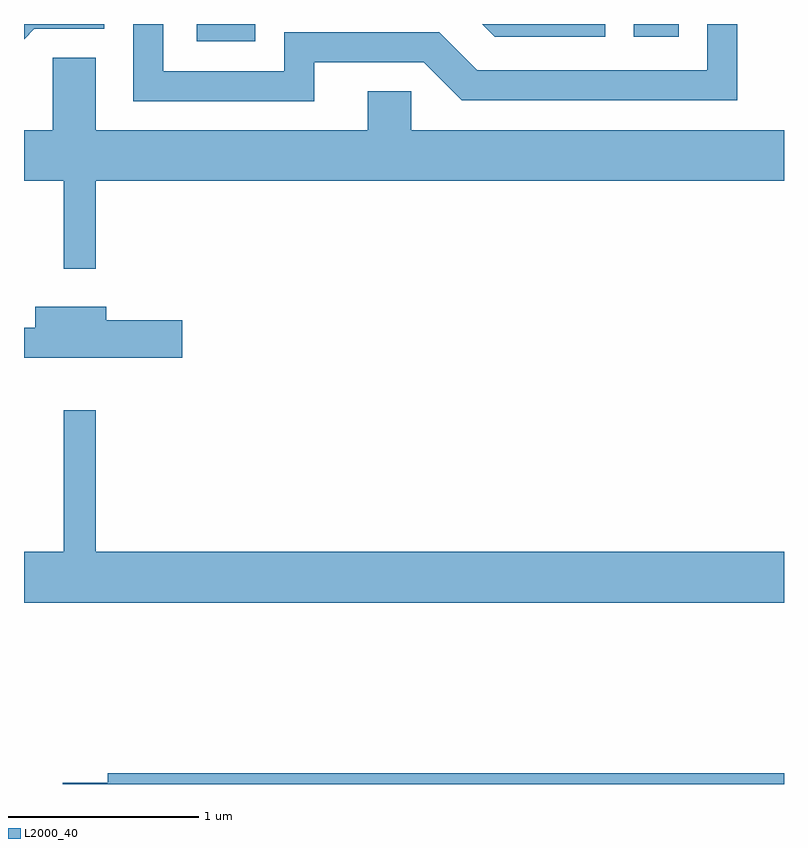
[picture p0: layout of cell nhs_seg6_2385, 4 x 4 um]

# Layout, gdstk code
import gdstk
lib = gdstk.Library(unit=1e-6, precision=1e-09)
def R(c, l, rs):  # rectangles x0, y0, x1, y1
    for r in rs: c.add(gdstk.rectangle(r[:2], r[2:], *l))
def P(c, l, *ps):  # polygons
    for p in ps: c.add(gdstk.Polygon(p, *l))
L2000_40 = (2000, 40)

nhs_seg6_2385 = lib.new_cell('nhs_seg6_2385')
R(nhs_seg6_2385, L2000_40, [(258.521,1584.071,258.829,1584.162), (260.821,1584.096,261.058,1584.162)])
P(nhs_seg6_2385, L2000_40, [(260.669,1584.162),(260.023,1584.162),(260.089,1584.096),(260.669,1584.096)],
  [(259.139,1583.961),(259.714,1583.961),(259.914,1583.761),(261.364,1583.761),(261.364,1584.162),(261.206,1584.162),(261.206,1583.919),(259.997,1583.919),(259.796,1584.119),(258.981,1584.119),(258.981,1583.914),(258.344,1583.914),(258.344,1584.162),(258.186,1584.162),(258.186,1583.756),(259.139,1583.756)],
  [(257.666,1584.136),(258.034,1584.136),(258.034,1584.162),(257.611,1584.162),(257.611,1584.081)],
  [(257.989,1583.336),(261.611,1583.336),(261.611,1583.604),(259.649,1583.604),(259.649,1583.809),(259.421,1583.809),(259.421,1583.604),(257.989,1583.604),(257.989,1583.984),(257.761,1583.984),(257.761,1583.604),(257.611,1583.604),(257.611,1583.336),(257.821,1583.336),(257.821,1582.873),(257.989,1582.873)],
  [(258.444,1582.604),(258.044,1582.604),(258.044,1582.674),(257.671,1582.674),(257.671,1582.564),(257.611,1582.564),(257.611,1582.406),(258.444,1582.406)],
  [(261.611,1581.384),(257.989,1581.384),(257.989,1582.128),(257.821,1582.128),(257.821,1581.384),(257.611,1581.384),(257.611,1581.116),(261.611,1581.116)],
  [(261.611,1580.219),(258.051,1580.219),(258.051,1580.169),(257.816,1580.169),(257.816,1580.162),(261.611,1580.162)])

lib.write_gds('nhs_seg6_2385.gds')
